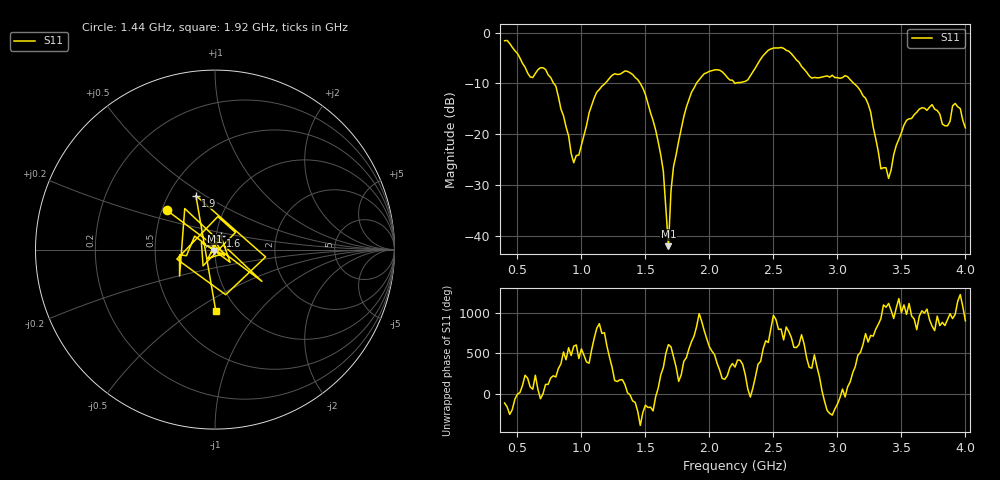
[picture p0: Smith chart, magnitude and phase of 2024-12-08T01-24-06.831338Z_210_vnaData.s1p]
!Created with skrf (http://scikit-rf.org).
# Hz S RI R 50.0
!freq ReS11 ImS11
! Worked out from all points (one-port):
!   181 points, 400 MHz to 4 GHz, reference 50 ohm
!   lowest |S11| = -42.0 dB at 1.68 GHz (marker M1), VSWR 1.02, Z = 49.7 - j0.722 ohm
!   |S11| at or under -10 dB: 784.1 MHz to 1.185 GHz (401.1 MHz wide, 40.7 % of centre); 1.46 GHz to 1.898 GHz (438.5 MHz wide, 26.1 % of centre); 3.129 GHz to end of sweep (the widest 3 of 4)
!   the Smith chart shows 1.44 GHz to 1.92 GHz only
!   S11 on the Smith chart (normalised r, x): 1.44 GHz: 0.53, +0.26; 1.6 GHz: 1.05, +0.17; 1.9 GHz: 0.68, +0.46; 1.92 GHz: 0.80, -0.62
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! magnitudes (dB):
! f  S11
! 400 MHz  -1.6
! 600 MHz  -8.7
! 720 MHz  -7.2
! 860 MHz  -16.4
! 940 MHz  -25.6
! 1.12 GHz  -11.7
! 1.3 GHz  -8.2
! 1.44 GHz  -9.3
! 1.6 GHz  -21.5
! 1.64 GHz  -27.3
! 1.68 GHz  -42.0
! 1.7 GHz  -31.1
! 1.76 GHz  -21.4
! 1.9 GHz  -9.9
! 1.92 GHz  -9.3
! 2.2 GHz  -10.0
! 2.48 GHz  -3.2
! 2.66 GHz  -4.7
! 2.8 GHz  -9.0
! 3.1 GHz  -9.3
! 3.24 GHz  -14.1
! 3.34 GHz  -26.8
! 3.4 GHz  -28.7
! 3.56 GHz  -17.0
! 3.74 GHz  -14.2
! 3.86 GHz  -18.4
! 3.92 GHz  -13.9
! 4 GHz  -18.8
